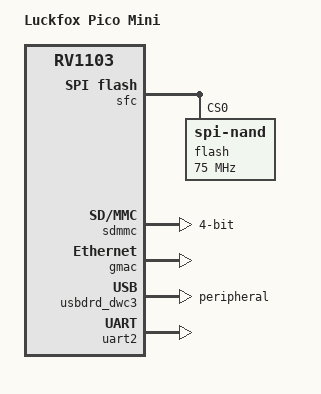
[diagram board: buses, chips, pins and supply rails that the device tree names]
// SPDX-License-Identifier: (GPL-2.0+ OR MIT)
/*
 * Copyright (c) 2023 Luckfox Electronics Co., Ltd.
 */

/dts-v1/;

#include "rv1103.dtsi"
#include "rv1106-evb.dtsi"
#include "rv1103-luckfox-pico-ipc.dtsi"

/ {
	model = "Luckfox Pico Mini";
	/* Mini B listed first; Mini A listed for sysupgrade compatibility.
	 * Both variants are hardware-identical except for onboard SPI NAND,
	 * which is disabled below. A single SD image boots either board. */
	compatible = "luckfox,rv1103-luckfox-pico-mini-b", "luckfox,rv1103-luckfox-pico-mini-a", "rockchip,rv1103";

	chosen {
		/* earlycon + console only; root/blkdevparts come from U-Boot env sys_bootargs */
		bootargs = "earlycon=uart8250,mmio32,0xff4c0000 console=ttyS2,115200n8 loglevel=8 ignore_loglevel";
	};
};

/* fiq-debugger is a vendor-only feature with no upstream driver; disable to
 * suppress "Dropping the fwnode link to /interrupt-controller" at boot. */
&fiq_debugger {
	status = "disabled";
};

/**********SFC**********/
/* Enabled so the NAND MTD device is available for recovery/bad-block scanning
 * on Mini B. On Mini A (no onboard flash) the spi-nand probe will fail with
 * "unknown raw ID ff ff ff ff ..." — this is expected and harmless. */
&sfc {
	status = "okay";
	/* Pinctrl required on SD boot — rkbin only sets up SFC pins for NAND
	 * boot; when booting from SD the kernel must mux them explicitly. */
	pinctrl-names = "default";
	pinctrl-0 = <&fspi_pins &fspi_cs0>;
	flash@0 {
		compatible = "spi-nand";
		reg = <0>;
		spi-max-frequency = <75000000>;
		spi-rx-bus-width = <4>;
		spi-tx-bus-width = <1>;
	};
};

/**********SDMMC**********/
&sdmmc {
	max-frequency = <50000000>;
	no-sdio;
	no-mmc;
	bus-width = <4>;
	cap-mmc-highspeed;
	cap-sd-highspeed;
	disable-wp;
	pinctrl-names = "default";
	pinctrl-0 = <&sdmmc0_clk &sdmmc0_cmd &sdmmc0_det &sdmmc0_bus4>;
	status = "okay";
};

/**********ETH**********/
/* RV1103 has an integrated 10/100 EPHY; the Mini exposes only the MDI
 * differential pairs (TXP/TXN/RXP/RXN) on castellated pads. A carrier
 * board with external magnetics + RJ45 is required for a physical link.
 * The driver probes cleanly without magnetics (MDIO lives inside the SoC)
 * and the interface just reports link down until one is attached. */
&gmac {
	status = "okay";
};

/**********USB**********/
&usbdrd_dwc3 {
	/* PHY_ROCKCHIP_INNO_USB2 not yet patched in; drop PHY/extcon refs so
	 * DWC3 doesn't EPROBE_DEFER indefinitely. Bootloader initialises the
	 * USB PHY; peripheral-mode gadget works without kernel PHY driver. */
	/delete-property/ phys;
	/delete-property/ phy-names;
	/delete-property/ extcon;
	dr_mode = "peripheral";
	status = "okay";
};

/**********SPI**********/
/* SPI0_M0 */
&spi0 {
	status = "disabled";
	spidev@0 {
		spi-max-frequency = <50000000>;
	};
};

/**********I2C**********/
/* I2C3_M1 */
&i2c3 {
	status = "disabled";
	clock-frequency = <100000>;
};

/**********UART**********/
/* UART2_M1 — debug console; must be enabled so the 8250 driver claims the
 * UART2 clock before clk_disable_unused() runs, keeping the console alive. */
&uart2 {
	status = "okay";
};

/* UART3_M1 */
&uart3 {
	status = "disabled";
};

/* UART4_M1 */
&uart4 {
	status = "disabled";
};

/**********PWM**********/
/* PWM1_M0 */
&pwm1 {
	status = "disabled";
};

/* Disable camera sensors from ipc DTSI — sc4336 and sc530ai both claim
 * i2c4 address 0x30 which causes -EBUSY at boot. No onboard camera;
 * enable the appropriate sensor in a board overlay if needed. */
&sc4336 {
	status = "disabled";
};

&sc530ai {
	status = "disabled";
};
